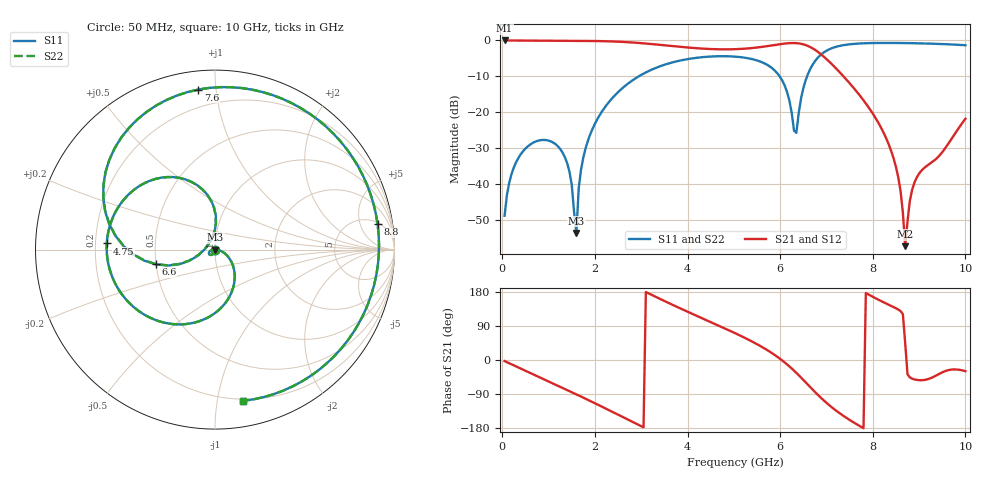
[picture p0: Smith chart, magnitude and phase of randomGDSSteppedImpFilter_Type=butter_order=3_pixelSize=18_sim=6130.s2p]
! freq	dB(S11)	phase(S11)	dB(S12)	phase(S12)
!  dB(S21)	phase(S21)	dB(S22)	phase(S22)
!S-par simulation data
#  GHz  S  DB  R 50
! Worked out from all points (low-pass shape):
!   200 points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, 50 MHz to 10 GHz, reference 50 ohm
!   highest |S21| = -0.01 dB at 50 MHz (marker M1); lowest = -57.2 dB at 8.7 GHz (marker M2)
!   |S21| within 3 dB of the highest: start of sweep to 6.796 GHz
!   lowest |S11| = -53.5 dB at 1.6 GHz (marker M3), VSWR 1.00, Z = 50.2 + j0.0477 ohm
!   |S11| at or under -10 dB: start of sweep to 2.944 GHz; 5.989 GHz to 6.581 GHz (591.9 MHz wide, 9.42 % of centre)
!   |S22| runs from -53.5 to -0.7 dB; largest |S21 - S12| = 0
!   S11 on the Smith chart (normalised r, x): 50 MHz: 1.00, -0.01; 4.75 GHz: 0.25, +0.03; 6.6 GHz: 0.50, -0.09; 7.6 GHz: 0.10, +0.90; 8.8 GHz: 5, +10; 10 GHz: 0.19, -1.18
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0.05  -48.74 -85.4  -0.01 -2.9  -0.01 -2.9  -48.74 -85.4
0.35  -32.61 -109.1  -0.03 -19.8  -0.03 -19.8  -32.61 -109.1
1  -27.84 -147.1  -0.08 -56.3  -0.08 -56.3  -27.84 -147.1
1.4  -34.08 -170.4  -0.10 -79.1  -0.10 -79.1  -34.08 -170.6
1.6  -53.53 13.0  -0.11 -90.6  -0.11 -90.6  -53.48 15.9
1.65  -41.13 -2.6  -0.11 -93.5  -0.11 -93.5  -41.13 -2.2
1.75  -32.51 -9.5  -0.12 -99.4  -0.12 -99.4  -32.51 -9.3
2.3  -17.17 -42.8  -0.25 -132.1  -0.25 -132.1  -17.17 -42.8
3.4  -7.21 -108.9  -1.22 161.6  -1.22 161.6  -7.21 -108.9
4.75  -4.38 176.7  -2.47 86.4  -2.47 86.4  -4.38 176.8
5.05  -4.52 160.2  -2.42 69.5  -2.42 69.5  -4.52 160.2
5.95  -9.31 101.7  -1.13 7.4  -1.13 7.4  -9.31 101.9
6.35  -25.68 171.6  -0.75 -34.0  -0.75 -34.0  -25.43 170.8
6.6  -9.35 -166.1  -1.54 -65.2  -1.54 -65.2  -9.34 -166.4
6.7  -6.77 -176.8  -2.19 -77.9  -2.19 -77.9  -6.77 -177.1
7.05  -2.53 144.7  -5.77 -118.2  -5.77 -118.2  -2.53 144.5
7.6  -0.95 96.0  -13.40 -165.8  -13.40 -165.8  -0.95 95.9
8.35  -0.69 40.9  -29.07 145.4  -29.07 145.4  -0.69 40.8
8.6  -0.72 23.1  -41.85 129.1  -41.85 129.1  -0.72 23.1
8.7  -0.73 16.0  -57.19 44.2  -57.19 44.2  -0.73 16.0
8.8  -0.75 8.9  -44.63 -45.7  -44.63 -45.7  -0.75 8.9
10  -1.34 -79.7  -21.76 -29.5  -21.76 -29.5  -1.34 -79.5
